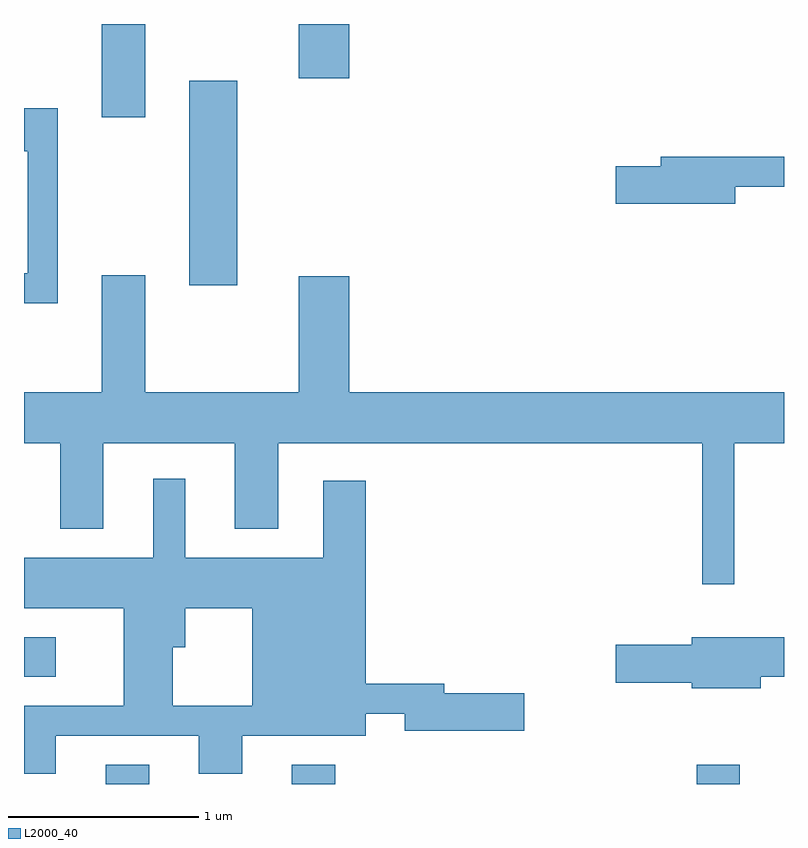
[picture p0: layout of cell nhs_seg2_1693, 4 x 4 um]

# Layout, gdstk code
import gdstk
lib = gdstk.Library(unit=1e-6, precision=1e-09)
def R(c, l, rs):  # rectangles x0, y0, x1, y1
    for r in rs: c.add(gdstk.rectangle(r[:2], r[2:], *l))
def P(c, l, *ps):  # polygons
    for p in ps: c.add(gdstk.Polygon(p, *l))
L2000_40 = (2000, 40)

nhs_seg2_1693 = lib.new_cell('nhs_seg2_1693')
R(nhs_seg2_1693, L2000_40, [(234.041,1099.802,234.269,1099.904), (235.021,1099.802,235.249,1099.904), (237.151,1099.802,237.379,1099.904), (233.611,1100.366,233.779,1100.574), (234.481,1102.426,234.734,1103.504), (234.021,1103.311,234.249,1103.802), (235.056,1103.516,235.324,1103.802)])
P(nhs_seg2_1693, L2000_40, [(233.789,1103.359),(233.611,1103.359),(233.611,1103.131),(233.631,1103.131),(233.631,1102.489),(233.611,1102.489),(233.611,1102.331),(233.789,1102.331)],
  [(237.354,1102.946),(237.611,1102.946),(237.611,1103.104),(236.961,1103.104),(236.961,1103.054),(236.726,1103.054),(236.726,1102.856),(237.354,1102.856)],
  [(237.349,1101.596),(237.611,1101.596),(237.611,1101.864),(235.324,1101.864),(235.324,1102.474),(235.056,1102.474),(235.056,1101.864),(234.249,1101.864),(234.249,1102.479),(234.021,1102.479),(234.021,1101.864),(233.611,1101.864),(233.611,1101.596),(233.801,1101.596),(233.801,1101.146),(234.029,1101.146),(234.029,1101.596),(234.721,1101.596),(234.721,1101.146),(234.949,1101.146),(234.949,1101.596),(237.181,1101.596),(237.181,1100.853),(237.349,1100.853)],
  [(233.779,1100.056),(234.531,1100.056),(234.531,1099.856),(234.759,1099.856),(234.759,1100.056),(235.409,1100.056),(235.409,1100.171),(235.616,1100.171),(235.616,1100.081),(236.244,1100.081),(236.244,1100.279),(235.824,1100.279),(235.824,1100.329),(235.409,1100.329),(235.409,1101.399),(235.186,1101.399),(235.186,1100.994),(234.459,1100.994),(234.459,1101.408),(234.291,1101.408),(234.291,1100.994),(233.611,1100.994),(233.611,1100.726),(234.136,1100.726),(234.136,1100.214),(234.394,1100.214),(234.394,1100.521),(234.459,1100.521),(234.459,1100.726),(234.811,1100.726),(234.811,1100.214),(234.394,1100.214),(234.136,1100.214),(233.611,1100.214),(233.611,1099.856),(233.779,1099.856)],
  [(237.489,1100.366),(237.611,1100.366),(237.611,1100.574),(237.126,1100.574),(237.126,1100.534),(236.726,1100.534),(236.726,1100.336),(237.126,1100.336),(237.126,1100.306),(237.489,1100.306)])

lib.write_gds('nhs_seg2_1693.gds')
